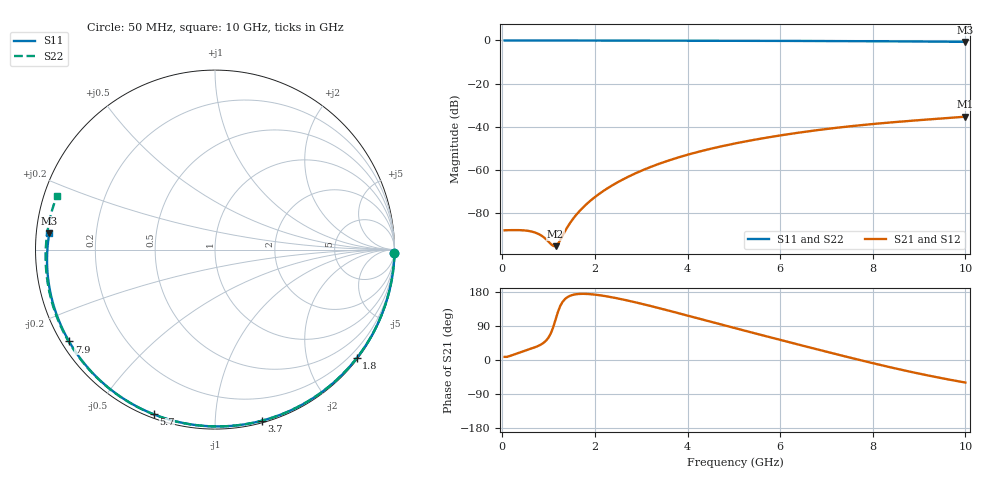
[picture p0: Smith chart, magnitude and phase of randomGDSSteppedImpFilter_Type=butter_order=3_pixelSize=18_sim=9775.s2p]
! freq	dB(S11)	phase(S11)	dB(S12)	phase(S12)
!  dB(S21)	phase(S21)	dB(S22)	phase(S22)
!S-par simulation data
#  GHz  S  DB  R 50
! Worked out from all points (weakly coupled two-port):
!   200 points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, 50 MHz to 10 GHz, reference 50 ohm
!   highest |S21| = -35.33 dB at 10 GHz (marker M1); lowest = -95.4 dB at 1.15 GHz (marker M2)
!   lowest |S11| = -0.7 dB at 10 GHz (marker M3), VSWR 26.54, Z = 1.89 + j2.48 ohm
!   |S11| at or under -10 dB: nowhere
!   |S22| runs from -0.6 to 0.0 dB; largest |S21 - S12| = 0
!   S11 on the Smith chart (normalised r, x): 50 MHz: open; 1.8 GHz: 0.03, -2.95; 3.7 GHz: 0.02, -1.31; 5.7 GHz: 0.02, -0.69; 7.9 GHz: 0.02, -0.29; 10 GHz: 0.04, +0.05
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0.05  -0.00 -1.1  -87.99 8.2  -87.99 8.2  -0.00 -1.1
0.6  -0.01 -12.7  -88.42 29.1  -88.42 29.1  -0.01 -13.2
1.15  -0.03 -24.2  -95.35 106.3  -95.35 106.3  -0.03 -25.2
1.6  -0.04 -33.4  -80.73 173.6  -80.73 173.6  -0.04 -34.8
1.65  -0.04 -34.5  -79.50 174.3  -79.50 174.3  -0.05 -35.9
1.75  -0.05 -36.5  -77.26 174.6  -77.26 174.6  -0.05 -38.0
1.8  -0.05 -37.5  -76.23 174.5  -76.23 174.5  -0.05 -39.1
2.1  -0.06 -43.6  -71.00 170.9  -71.00 170.9  -0.06 -45.4
2.5  -0.07 -51.5  -65.62 162.3  -65.62 162.3  -0.07 -53.7
2.9  -0.08 -59.4  -61.35 151.5  -61.35 151.5  -0.08 -61.9
3.4  -0.09 -68.9  -57.06 136.4  -57.06 136.4  -0.10 -71.9
3.7  -0.10 -74.6  -54.89 126.9  -54.89 126.9  -0.11 -77.8
4.35  -0.12 -86.6  -50.98 105.9  -50.98 105.9  -0.13 -90.4
5.05  -0.15 -99.1  -47.64 83.3  -47.64 83.3  -0.16 -103.6
5.7  -0.18 -110.4  -45.07 62.6  -45.07 62.6  -0.20 -115.7
6.7  -0.25 -127.5  -41.86 31.2  -41.86 31.2  -0.26 -134.0
7.3  -0.29 -137.6  -40.28 12.6  -40.28 12.6  -0.31 -145.0
7.9  -0.35 -147.8  -38.94 -5.4  -38.94 -5.4  -0.37 -156.2
8.35  -0.40 -155.5  -38.07 -18.4  -38.07 -18.4  -0.42 -164.8
9.2  -0.51 -170.6  -36.62 -41.0  -36.62 -41.0  -0.52 178.3
9.6  -0.57 -178.0  -35.98 -50.6  -35.98 -50.6  -0.57 169.9
10  -0.65 174.3  -35.33 -59.5  -35.33 -59.5  -0.63 161.2
